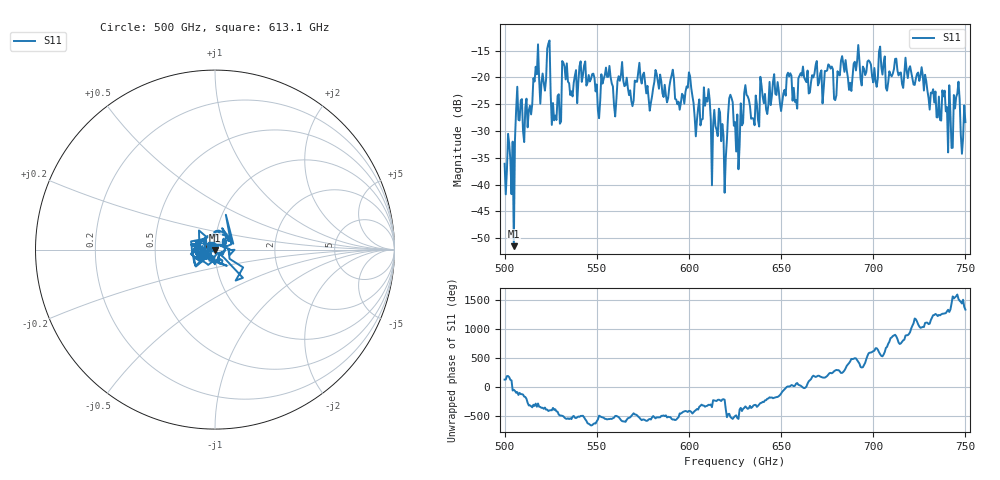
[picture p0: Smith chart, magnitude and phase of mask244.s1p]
!Created with skrf (http://scikit-rf.org).
# GHz S MA R 50.0
!freq magS11 angS11
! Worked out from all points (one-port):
!   401 points, 500 GHz to 750 GHz, reference 50 ohm
!   lowest |S11| = -51.5 dB at 505 GHz (marker M1), VSWR 1.01, Z = 50.2 - j0.207 ohm
!   |S11| at or under -10 dB: start of sweep to end of sweep
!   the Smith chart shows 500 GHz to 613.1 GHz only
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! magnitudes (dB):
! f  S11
! 500 GHz  -36.1
! 505 GHz  -51.5
! 507.5 GHz  -27.9
! 513.8 GHz  -25.3
! 516.9 GHz  -18.0
! 523.8 GHz  -13.7
! 526.9 GHz  -28.0
! 531.2 GHz  -16.9
! 542.5 GHz  -19.6
! 550.6 GHz  -26.2
! 555.6 GHz  -19.9
! 559.4 GHz  -25.3
! 562.5 GHz  -20.6
! 568.8 GHz  -24.4
! 590.6 GHz  -19.6
! 593.8 GHz  -25.0
! 609.4 GHz  -23.8
! 618.8 GHz  -30.8
! 622.5 GHz  -23.2
! 625 GHz  -28.3
! 628.1 GHz  -24.8
! 631.2 GHz  -23.2
! 634.4 GHz  -27.6
! 656.2 GHz  -24.3
! 687.5 GHz  -21.0
! 691.2 GHz  -17.0
! 718.8 GHz  -20.1
! 750 GHz  -28.3
